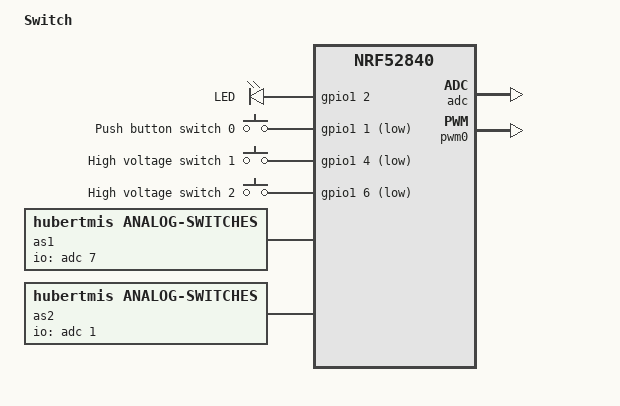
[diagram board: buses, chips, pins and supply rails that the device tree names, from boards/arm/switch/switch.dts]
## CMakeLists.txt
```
# Find Zephyr. This also loads Zephyr's build system.
cmake_minimum_required(VERSION 3.13.1)

set(CONF_FILE "prj.conf")
list(APPEND CONF_FILE "../config/openthread.conf")
list(APPEND CONF_FILE "../config/coap.conf")
list(APPEND CONF_FILE "../config/fota.conf")
list(APPEND CONF_FILE "../config/dfu.conf")

set(BOARD_CONF_FILE "prj_${BOARD}.conf")
if (EXISTS ${BOARD_CONF_FILE})
	list(APPEND CONF_FILE ${BOARD_CONF_FILE})
endif()

list(APPEND BOARD_ROOT ${CMAKE_CURRENT_SOURCE_DIR})
find_package(Zephyr REQUIRED HINTS $ENV{ZEPHYR_BASE})
project(switch)

# Add your source file to the "app" target. This must come after
# find_package(Zephyr) which defines the target.
target_sources(app PRIVATE src/analog_switch.c)
target_sources(app PRIVATE src/coap.c)
target_sources(app PRIVATE src/coap_req.c)
target_sources(app PRIVATE src/led.c)
target_sources(app PRIVATE src/main.c)
target_sources(app PRIVATE src/prov.c)
target_sources(app PRIVATE src/switch.c)

# TODO: Replace with library target
target_include_directories(app PRIVATE ../lib)
target_sources(app PRIVATE ../lib/cbor_utils.c)
target_sources(app PRIVATE ../lib/coap_fota.c)
target_sources(app PRIVATE ../lib/coap_reboot.c)
target_sources(app PRIVATE ../lib/coap_sd.c)
target_sources(app PRIVATE ../lib/coap_server.c)
target_sources(app PRIVATE ../lib/continuous_sd.c)
target_sources(app PRIVATE ../lib/ot_sed.c)

zephyr_get(COAPS_PSK SYSBUILD GLOBAL)
if(COAPS_PSK)
    target_compile_definitions(app PRIVATE
        -DCOAPS_PSK=${COAPS_PSK}
        )
else()
    message(FATAL_ERROR "Missing COAPS_PSK")
endif()
```

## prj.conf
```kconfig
CONFIG_FPU=y
CONFIG_FPU_SHARING=y

CONFIG_MAIN_STACK_SIZE=3072
CONFIG_HEAP_MEM_POOL_SIZE=2048

CONFIG_FLASH=y

CONFIG_ADC=y
CONFIG_LED=y

CONFIG_MCUBOOT_IMGTOOL_SIGN_VERSION="0.1.0+9"

CONFIG_DOWNLOADER_THREAD_PRIORITY=6

CONFIG_RESET_ON_FATAL_ERROR=n
#CONFIG_DEBUG_THREAD_INFO=y
#CONFIG_THREAD_MONITOR=y
```

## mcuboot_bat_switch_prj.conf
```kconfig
#CONFIG_BOOT_SIGNATURE_TYPE_RSA=y
#CONFIG_BOOT_SIGNATURE_TYPE_RSA_LEN=2048
CONFIG_BOOT_SIGNATURE_KEY_FILE="keys/bat_switch.pem"

#CONFIG_MAIN_STACK_SIZE=2048

CONFIG_RESET_ON_FATAL_ERROR=n
CONFIG_GPIO_AS_PINRESET=n
```

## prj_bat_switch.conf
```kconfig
CONFIG_OPENTHREAD_MTD=y
CONFIG_OPENTHREAD_MTD_SED=y
```

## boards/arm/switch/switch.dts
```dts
/*
 * Copyright (c) 2022 Hubert Miś
 *
 * SPDX-License-Identifier: Apache-2.0
 */

/dts-v1/;
#include <nordic/nrf52840_qiaa.dtsi>

/ {
	model = "Switch";
	compatible = "hubertmis,switch";

	chosen {
		zephyr,sram = &sram0;
		zephyr,flash = &flash0;
		zephyr,code-partition = &slot0_partition;
	};

    leds {
        compatible = "gpio-leds";
        led: led_0 {
            gpios = <&gpio1 2 GPIO_ACTIVE_HIGH>;
            label = "LED";
        };
    };

    buttons {
        compatible = "gpio-keys";
        button0: button_0 {
            gpios = <&gpio1 1 (GPIO_PULL_UP | GPIO_ACTIVE_LOW)>;
            label = "Push button switch 0";
        };
        sw1: button_1 {
            gpios = <&gpio1 4 (GPIO_ACTIVE_LOW)>;
            label = "High voltage switch 1";
        };
        sw2: button_2 {
            gpios = <&gpio1 6 (GPIO_ACTIVE_LOW)>;
            label = "High voltage switch 2";
        };
    };

    as1: analog_switch1 {
        compatible = "hubertmis,analog-switches";
        io-channels = <&adc 7>;
        status = "okay";
    };
    as2: analog_switch2 {
        compatible = "hubertmis,analog-switches";
        io-channels = <&adc 1>;
        status = "okay";
    };

    /*
    * In some default configurations within the nRF Connect SDK,
    * e.g. on nRF52840, the chosen zephyr,entropy node is &cryptocell.
    * This devicetree overlay ensures that default is overridden wherever it
    * is set, as this application uses the RNG node for entropy exclusively.
    */
    chosen {
        zephyr,entropy = &rng;
    };

    /* These aliases are provided for compatibility with samples */
/*
    aliases {
        red-pwm-led = &red_pwm_led;
        green-pwm-led = &green_pwm_led;
        blue-pwm-led = &blue_pwm_led;
        white-pwm-led = &white_pwm_led;
    };
*/
};

&adc {
	status = "okay";
};

&gpiote {
	status = "okay";
};

&gpio0 {
	status = "okay";
};

&gpio1 {
	status = "okay";
};

&pwm0 {
    status = "okay";
    ch0-pin = <18>;
    ch0-inverted;
    ch1-pin = <19>;
    ch1-inverted;
    ch2-pin = <21>;
    ch2-inverted;
    ch3-pin = <23>;
    ch3-inverted;
};

&flash0 {

	partitions {
		compatible = "fixed-partitions";
		#address-cells = <1>;
		#size-cells = <1>;

		boot_partition: partition@0 {
			label = "mcuboot";
			reg = <0x000000000 0x0000C000>;
		};
		slot0_partition: partition@c000 {
			label = "image-0";
			reg = <0x0000C000 0x00067000>;
		};
		slot1_partition: partition@73000 {
			label = "image-1";
			reg = <0x00073000 0x00067000>;
		};
		scratch_partition: partition@da000 {
			label = "image-scratch";
			reg = <0x000da000 0x0001e000>;
		};

		/*
		 * The flash starting at 0x000f8000 and ending at
		 * 0x000fffff is reserved for use by the application.
		 */

		/*
		 * Storage partition will be used by FCB/LittleFS/NVS
		 * if enabled.
		 */
		storage_partition: partition@f8000 {
			label = "storage";
			reg = <0x000f8000 0x00008000>;
		};
	};
};
```

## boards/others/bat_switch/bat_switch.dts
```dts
/*
 * Copyright (c) 2022 Hubert Miś
 *
 * SPDX-License-Identifier: Apache-2.0
 */

/dts-v1/;
#include <nordic/nrf52840_qiaa.dtsi>

/ {
	model = "Switch";
	compatible = "hubertmis,switch";

	chosen {
		zephyr,sram = &sram0;
		zephyr,flash = &flash0;
		zephyr,code-partition = &slot0_partition;
	};

    buttons {
        compatible = "gpio-keys";
        sw1: button_1 {
            gpios = <&gpio0 23 (GPIO_PULL_UP | GPIO_ACTIVE_LOW)>;
            label = "Switch 1";
        };
    };

    /*
    * In some default configurations within the nRF Connect SDK,
    * e.g. on nRF52840, the chosen zephyr,entropy node is &cryptocell.
    * This devicetree overlay ensures that default is overridden wherever it
    * is set, as this application uses the RNG node for entropy exclusively.
    */
    chosen {
        zephyr,entropy = &rng;
    };

    /* These aliases are provided for compatibility with samples */
};

&adc {
	status = "okay";
};

&gpiote {
	status = "okay";
};

&gpio0 {
	status = "okay";
};

&gpio1 {
	status = "okay";
};

&pwm0 {
    status = "okay";
    ch0-pin = <18>;
    ch0-inverted;
    ch1-pin = <19>;
    ch1-inverted;
    ch2-pin = <21>;
    ch2-inverted;
    ch3-pin = <23>;
    ch3-inverted;
};

&flash0 {

	partitions {
		compatible = "fixed-partitions";
		#address-cells = <1>;
		#size-cells = <1>;

		boot_partition: partition@0 {
			label = "mcuboot";
			reg = <0x000000000 0x0000C000>;
		};
		slot0_partition: partition@c000 {
			label = "image-0";
			reg = <0x0000C000 0x00067000>;
		};
		slot1_partition: partition@73000 {
			label = "image-1";
			reg = <0x00073000 0x00067000>;
		};
		scratch_partition: partition@da000 {
			label = "image-scratch";
			reg = <0x000da000 0x0001e000>;
		};

		/*
		 * The flash starting at 0x000f8000 and ending at
		 * 0x000fffff is reserved for use by the application.
		 */

		/*
		 * Storage partition will be used by FCB/LittleFS/NVS
		 * if enabled.
		 */
		storage_partition: partition@f8000 {
			label = "storage";
			reg = <0x000f8000 0x00008000>;
		};
	};
};
```

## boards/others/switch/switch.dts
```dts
/*
 * Copyright (c) 2022 Hubert Miś
 *
 * SPDX-License-Identifier: Apache-2.0
 */

/dts-v1/;
#include <nordic/nrf52840_qiaa.dtsi>

/ {
	model = "Switch";
	compatible = "hubertmis,switch";

	chosen {
		zephyr,sram = &sram0;
		zephyr,flash = &flash0;
		zephyr,code-partition = &slot0_partition;
		zephyr,ieee802154 = &ieee802154;
	};

    leds {
        compatible = "gpio-leds";
        led: led_0 {
            gpios = <&gpio1 2 GPIO_ACTIVE_HIGH>;
            label = "LED";
        };
    };

    buttons {
        compatible = "gpio-keys";
        button0: button_0 {
            gpios = <&gpio1 1 (GPIO_PULL_UP | GPIO_ACTIVE_LOW)>;
            label = "Push button switch 0";
        };
        sw1: button_1 {
            gpios = <&gpio1 4 (GPIO_ACTIVE_LOW)>;
            label = "High voltage switch 1";
        };
        sw2: button_2 {
            gpios = <&gpio1 6 (GPIO_ACTIVE_LOW)>;
            label = "High voltage switch 2";
        };
    };

    as1: analog_switch1 {
        compatible = "hubertmis,analog-switches";
        io-channels = <&adc 7>;
        status = "okay";
    };
    as2: analog_switch2 {
        compatible = "hubertmis,analog-switches";
        io-channels = <&adc 1>;
        status = "okay";
    };

    /*
    * In some default configurations within the nRF Connect SDK,
    * e.g. on nRF52840, the chosen zephyr,entropy node is &cryptocell.
    * This devicetree overlay ensures that default is overridden wherever it
    * is set, as this application uses the RNG node for entropy exclusively.
    */
    chosen {
        zephyr,entropy = &rng;
    };

    /* These aliases are provided for compatibility with samples */
/*
    aliases {
        red-pwm-led = &red_pwm_led;
        green-pwm-led = &green_pwm_led;
        blue-pwm-led = &blue_pwm_led;
        white-pwm-led = &white_pwm_led;
    };
*/
};

&adc {
	status = "okay";
};

&gpiote {
	status = "okay";
};

&gpio0 {
	status = "okay";
};

&gpio1 {
	status = "okay";
};

&ieee802154 {
	status = "okay";
};

&uicr {
	nfct-pins-as-gpios;
};

&flash0 {

	partitions {
		compatible = "fixed-partitions";
		#address-cells = <1>;
		#size-cells = <1>;

		boot_partition: partition@0 {
			label = "mcuboot";
			reg = <0x000000000 0x0000C000>;
		};
		slot0_partition: partition@c000 {
			label = "image-0";
			reg = <0x0000C000 0x00079000>;
		};
		slot1_partition: partition@85000 {
			label = "image-1";
			reg = <0x00085000 0x00079000>;
		};

		storage_partition: partition@fe000 {
			label = "storage";
			reg = <0x000fe000 0x00002000>;
		};
	};
};
```

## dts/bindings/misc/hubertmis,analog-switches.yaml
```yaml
# Copyright (c) 2022 Hubert Miś
# SPDX-License-Identifier: Apache-2.0

description: Analog detector of power switch state changes

compatible: "hubertmis,analog-switches"

include: base.yaml

properties:
  io-channels:
    required: true
    description: |
      IO channel associated with the transoptor output
```

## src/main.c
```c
/*
 * Copyright (c) 2022 Hubert Miś
 *
 * SPDX-License-Identifier: Apache-2.0
 */

#include <assert.h>

#include "coap.h"
#include "led.h"
#include "prov.h"
#include "switch.h"

#include "ot_sed.h"

#include <net/fota_download.h>
#include <openthread/thread.h>
#include <zephyr/dfu/mcuboot.h>
#include <zephyr/net/openthread.h>
#include <zephyr/settings/settings.h>
#include <zephyr/sys/reboot.h>

#define TX_POWER 8

// Fota
void fota_callback(const struct fota_download_evt *evt)
{
    if (evt->id == FOTA_DOWNLOAD_EVT_FINISHED) {
        sys_reboot(SYS_REBOOT_COLD);
    }
}

// Main
int main(void)
{
	prov_init();

	settings_subsys_init();
	settings_register(prov_get_settings_handler());
	settings_load();

	otError error;
	struct otInstance *ot_instance = openthread_get_default_instance();

	error = otPlatRadioSetTransmitPower(ot_instance, TX_POWER);
	assert(error == OT_ERROR_NONE);

	struct otIp6Address site_local_all_nodes_addr = {.mFields = {.m8 =
			{0xff, 0x05, 0x00, 0x00, 0x00, 0x00, 0x00, 0x00,
			 0x00, 0x00, 0x00, 0x00, 0x00, 0x00, 0x00, 0x01} }};

	error = otIp6SubscribeMulticastAddress(ot_instance, &site_local_all_nodes_addr);
	assert(error == OT_ERROR_NONE);

	ot_sed_init(ot_instance);
	fota_download_init(fota_callback);
	coap_init();

	switch_init();
	led_init();

	boot_write_img_confirmed();

	return 0;
}
```

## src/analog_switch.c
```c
/*
 * Copyright (c) 2022 Hubert Miś
 *
 * SPDX-License-Identifier: Apache-2.0
 */

#define DT_DRV_COMPAT hubertmis_analog_switches

#include "analog_switch.h"

#include <nrfx_saadc.h>

#include <zephyr/drivers/adc.h>
#include <zephyr/device.h>
#include <zephyr/logging/log.h>

#include "led.h"

LOG_MODULE_REGISTER(analog_switches, CONFIG_SENSOR_LOG_LEVEL);

#define ADC_RESOLUTION 12
#define ADC_INTERVAL_MS 1
#define ADC_ERR_RETRIES 100

#define REF_SAMPLES 1024
#define VAL_FACTOR  4
#define VAL_SAMPLES (REF_SAMPLES / VAL_FACTOR)
#define MAX_SAMPLE_VAL 1024

#define THREAD_PRIORITY 7
#define THREAD_STACK_SIZE 1024

enum last_change {
	NONE,
	INC,
	DEC,
};

struct analog_switch_data {
    uint16_t raw;
    uint16_t events;
    struct {
        uint32_t avg;
        uint32_t ref;
    } debug;
	struct {
	    uint16_t samples[REF_SAMPLES];
		uint16_t ref_idx;
		uint32_t val;
		uint32_t ref;
		int num_exceeded;
	} sld_w;

    uint16_t         min_events;
    uint16_t         det_threshold;
    uint8_t          debounce_cnt;
    enum last_change last_change;

    analog_switch_callback_t callback;
    void *                   callback_ctx;

    K_KERNEL_STACK_MEMBER(thread_stack, THREAD_STACK_SIZE);
    struct k_thread thread_data;
    k_tid_t thread_id;

    bool thread_enabled;
};

struct analog_switch_cfg {
    struct adc_sequence adc_table;
    const struct device *adc;
    uint8_t input_id;
};

static struct adc_sequence_options options = {
	.extra_samplings = 0,
	.interval_us = 15,
};

#ifdef CONFIG_ADC_NRFX_SAADC
#define INPUT_CONFIG                                                           \
            .input_positive = drv_cfg->input_id + NRFX_ANALOG_EXTERNAL_AIN0,
#else
#define INPUT_CONFIG
#endif

static void thread_process(void *, void *, void *);

static int as_init(const struct device *dev)
{
	struct analog_switch_data *drv_data = dev->data;
	const struct analog_switch_cfg *drv_cfg = dev->config;

	if (drv_cfg->adc == NULL) {
		LOG_ERR("Failed to get ADC device.");
		return -EINVAL;
	}

	memset(&drv_data->sld_w.samples, 0, sizeof(drv_data->sld_w.samples));
	drv_data->sld_w.ref_idx = 0;
	drv_data->sld_w.val     = 0;
	drv_data->sld_w.ref     = 0;

	drv_data->min_events    = 50;
	drv_data->det_threshold = 12000;
	drv_data->debounce_cnt  = 3;
	drv_data->last_change   = NONE;

	drv_data->callback     = NULL;
	drv_data->callback_ctx = NULL;

	struct adc_channel_cfg ch_cfg = {
	    .gain = ADC_GAIN_1_4,
	    .reference = ADC_REF_VDD_1_4,
	    .acquisition_time = ADC_ACQ_TIME_DEFAULT,
	    .channel_id = drv_cfg->input_id,
	    INPUT_CONFIG
	};

	adc_channel_setup(drv_cfg->adc, &ch_cfg);

	drv_data->thread_id = k_thread_create(&drv_data->thread_data,
		                              drv_data->thread_stack,
					      K_THREAD_STACK_SIZEOF(drv_data->thread_stack),
					      thread_process,
					      (void*)dev, NULL, NULL,
					      THREAD_PRIORITY,
					      0,
					      K_FOREVER);

	drv_data->thread_enabled = false;

	return 0;
}

static void call_detected_callback(struct analog_switch_data *drv_data)
{
    drv_data->events++;

	if (drv_data->callback) {
		drv_data->callback(drv_data->last_change == DEC, drv_data->callback_ctx);
	}
}

static uint16_t prev_idx(uint16_t curr, uint16_t dist)
{
    return (REF_SAMPLES + curr - (dist - 1)) % REF_SAMPLES;
}

static uint16_t next_idx(uint16_t curr)
{
    return (curr + 1) % REF_SAMPLES;
}

static void sld_w_process(struct analog_switch_data *drv_data)
{
    uint16_t curr_idx = drv_data->sld_w.ref_idx;
    uint16_t prev_ref_idx = prev_idx(curr_idx, REF_SAMPLES);
    uint16_t prev_val_idx = prev_idx(curr_idx, VAL_SAMPLES);

    uint16_t curr_sample = drv_data->raw;

    if (curr_sample > MAX_SAMPLE_VAL) {
        return;
    }

    drv_data->sld_w.samples[curr_idx] = curr_sample;
    drv_data->sld_w.ref -= drv_data->sld_w.samples[prev_ref_idx];
    drv_data->sld_w.ref += drv_data->sld_w.samples[curr_idx];
    drv_data->sld_w.val -= drv_data->sld_w.samples[prev_val_idx];
    drv_data->sld_w.val += drv_data->sld_w.samples[curr_idx];

    drv_data->sld_w.ref_idx = next_idx(drv_data->sld_w.ref_idx);

    drv_data->debug.avg = drv_data->sld_w.val * VAL_FACTOR;
    drv_data->debug.ref = drv_data->sld_w.ref;

    // TODO: debouncing here?

    int32_t lower_thr = (int32_t)drv_data->sld_w.ref - (int32_t)drv_data->det_threshold;
    int32_t upper_thr = (int32_t)drv_data->sld_w.ref + (int32_t)drv_data->det_threshold;

    if (lower_thr < 0) {
        lower_thr = 0;
    }
    if (upper_thr > (MAX_SAMPLE_VAL * REF_SAMPLES)) {
        upper_thr = MAX_SAMPLE_VAL * REF_SAMPLES;
    }

    int32_t cmp_val = drv_data->sld_w.val * VAL_FACTOR;

    if ((cmp_val < lower_thr) && (drv_data->last_change != DEC)) {
        drv_data->sld_w.num_exceeded++;
    }
    else if ((cmp_val > upper_thr) && (drv_data->last_change != INC)) {
        drv_data->sld_w.num_exceeded++;
    } else if (drv_data->sld_w.num_exceeded) {
        drv_data->sld_w.num_exceeded--;
    }

    if (drv_data->sld_w.num_exceeded >= drv_data->min_events) {
        drv_data->sld_w.num_exceeded = 0;
        drv_data->last_change = drv_data->last_change == DEC ? INC : DEC;
        call_detected_callback(drv_data);
    }
}

static void thread_process(void *arg1, void *, void *)
{
	const struct device *dev = arg1;
	struct analog_switch_data *drv_data = dev->data;
	const struct analog_switch_cfg *drv_cfg = dev->config;
	int r;
	int adc_err_cnt = 0;

	while (1) {
		r = adc_read(drv_cfg->adc, &drv_cfg->adc_table);
		if (r) {
		    if (adc_err_cnt < ADC_ERR_RETRIES) {
				adc_err_cnt++;
			}
			else {
				k_sleep(K_MSEC(ADC_INTERVAL_MS));
			}
		    continue;
		} else {
		    adc_err_cnt = 0;
		}

        sld_w_process(drv_data);

		k_sleep(K_MSEC(ADC_INTERVAL_MS));
	}
}

static int get(const struct device *dev, uint16_t *result)
{
	int ret = 0;
	struct analog_switch_data *drv_data = dev->data;
	const struct analog_switch_cfg *drv_cfg = dev->config;

	ret = adc_read(drv_cfg->adc, &drv_cfg->adc_table);
	if (ret) return ret;

	*result = drv_data->raw;
	return 0;
}

static int register_callback(const struct device *dev,
                             analog_switch_callback_t callback,
			     void *ctx)
{
	struct analog_switch_data *drv_data = dev->data;

	drv_data->callback = callback;
	drv_data->callback_ctx = ctx;

	return 0;
}

static int enable(const struct device *dev)
{
	struct analog_switch_data *drv_data = dev->data;
	drv_data->thread_enabled = true;
	k_thread_start(drv_data->thread_id);

	return 0;
}

static int get_enabled(const struct device *dev, bool *enabled)
{
    struct analog_switch_data *drv_data = dev->data;

    *enabled = drv_data->thread_enabled;

    return 0;
}

static int get_avg(const struct device *dev, uint16_t *result, uint16_t *ref)
{
	struct analog_switch_data *drv_data = dev->data;

	*result = drv_data->debug.avg;
	*ref = drv_data->debug.ref;

	return 0;
}

static int get_events(const struct device *dev, uint16_t *result)
{
	struct analog_switch_data *drv_data = dev->data;

	*result = drv_data->events;
	drv_data->events = 0;
	return 0;
}

static int set_config(const struct device *dev, int iters, int sum_iters, int min_events,
            int threshold, int debounce_cnt, bool debounce_led, bool iter_led)
{
	struct analog_switch_data *drv_data = dev->data;

	(void)iters;
	(void)sum_iters;
	drv_data->min_events = min_events;
	drv_data->det_threshold = threshold;
	drv_data->debounce_cnt = debounce_cnt;

	if (debounce_led || iter_led) {
		led_take_analog_control();
	} else {
		led_release_analog_control();
	}

	return 0;
}

static int get_config(const struct device *dev, int *iters, int *sum_iters, int *min_events,
            int *threshold, int *debounce_cnt)
{
	struct analog_switch_data *drv_data = dev->data;

	*iters = 0;
	*sum_iters = 0;
	*min_events = drv_data->min_events;
	*threshold = drv_data->det_threshold;
	*debounce_cnt = drv_data->debounce_cnt;

	return 0;
}

static const struct analog_switch_driver_api as_api = {
	.get = &get,
	.register_callback = register_callback,
	.enable = &enable,
	.get_enabled = &get_enabled,
	.get_avg = &get_avg,
	.get_events = get_events,
	.set_config = set_config,
	.get_config = get_config,
};

#define ANALOG_SWITCH_INIT(idx)                                                \
    static struct analog_switch_data as_##idx##_data;                          \
    static const struct analog_switch_cfg as_##idx##_cfg = {                   \
        .adc = DEVICE_DT_GET(DT_INST_PHANDLE(idx, io_channels)),               \
        .input_id = DT_INST_IO_CHANNELS_INPUT_BY_IDX(idx, 0),                  \
        .adc_table = {                                                         \
            .options = &options,                                               \
            .resolution = ADC_RESOLUTION,                                      \
            .buffer = &as_##idx##_data.raw,                                    \
            .buffer_size = sizeof(as_##idx##_data.raw),                        \
            .channels = BIT(DT_INST_IO_CHANNELS_INPUT_BY_IDX(idx, 0)),         \
        },                                                                     \
    };                                                                         \
                                                                               \
    DEVICE_DT_INST_DEFINE(idx, &as_init, NULL,                                 \
		          &as_##idx##_data, &as_##idx##_cfg,                   \
                          POST_KERNEL, CONFIG_SENSOR_INIT_PRIORITY, &as_api);  \

DT_INST_FOREACH_STATUS_OKAY(ANALOG_SWITCH_INIT)
```

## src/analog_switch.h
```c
/*
 * Copyright (c) 2022 Hubert Miś
 *
 * SPDX-License-Identifier: Apache-2.0
 */

/**
 * @file
 * @brief Analog switch detector device driver
 */

#ifndef ANALOG_SWITCH_H_
#define ANALOG_SWITCHC_H_

#include <stdint.h>
#include <zephyr/device.h>

#ifdef __cplusplus
extern "C" {
#endif

typedef void (*analog_switch_callback_t)(bool on, void *ctx);

typedef int (*analog_switch_api_get)(const struct device *dev,
                                     uint16_t *result);

typedef int (*analog_switch_api_register_callback)(const struct device *dev,
                                                   analog_switch_callback_t callback,
						   void *ctx);

typedef int (*analog_switch_api_enable)(const struct device *dev);

typedef int (*analog_switch_api_get_enabled)(const struct device *dev, bool *enabled);

typedef int (*analog_switch_api_get_avg)(const struct device *dev,
                                         uint16_t *result,
                                         uint16_t *ref);

typedef int (*analog_switch_api_get_events)(const struct device *dev,
                                            uint16_t *result);

typedef int (*analog_switch_api_set_config)(const struct device *dev,
					    int det_iters,
						int sum_iters,
						int min_events,
					    int det_threshold,
					    int debounce_cnt,
					    bool debounce_led,
					    bool iter_led);

typedef int (*analog_switch_api_get_config)(const struct device *dev,
                                            int *det_iters,
                                            int *sum_iters,
                                            int *min_events,
                                            int *det_threshold,
                                            int *debounce_cnt);

struct analog_switch_driver_api {
	analog_switch_api_get               get;
	analog_switch_api_register_callback register_callback;
	analog_switch_api_enable            enable;
	analog_switch_api_get_enabled       get_enabled;
	analog_switch_api_get_avg           get_avg;
	analog_switch_api_get_events        get_events;
	analog_switch_api_set_config        set_config;
	analog_switch_api_get_config        get_config;
};

#ifdef __cplusplus
}
#endif

#endif // ANALOG_SWITCH_H_
```

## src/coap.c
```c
/*
 * Copyright (c) 2022 Hubert Miś
 *
 * SPDX-License-Identifier: Apache-2.0
 */

#include "coap.h"

#include <cbor_utils.h>
#include <coap_fota.h>
#include <coap_reboot.h>
#include <coap_sd.h>
#include <coap_server.h>
#include "led.h"
#include "prov.h"

#include <zcbor_decode.h>
#include <zcbor_encode.h>
#include <zephyr/net/socket.h>
#include <zephyr/net/coap.h>

#define MAX_COAP_MSG_LEN 256
#define MAX_COAP_PAYLOAD_LEN 64

#define RSRC0_KEY "r0"
#define RSRC1_KEY "r1"
#define OUT0_KEY "o0"
#define OUT1_KEY "o1"
#define ANALOG0_KEY "a0"
#define ANALOG1_KEY "a1"
#define THRESHOLD0_KEY "t0"
#define THRESHOLD1_KEY "t1"
#define MONOSTABLE_KEY "m"

static int handle_prov_post(zcbor_state_t *cd, enum coap_response_code *rsp_code, void *context)
{
    (void)context;
    int r = -EINVAL;
    bool updated = false;
    char str[PROV_LBL_MAX_LEN];
    int prov_int;
    bool prov_bool;

    // Handle rsrc0
    r = cbor_extract_from_map_string(cd, RSRC0_KEY, str, sizeof(str));
    if ((r >= 0) && (r < PROV_LBL_MAX_LEN)) {
        r = prov_set_rsrc_label(0, str);

        if (r == 0) {
            updated = true;
        }
    }

    // Handle rsrc1
    r = cbor_extract_from_map_string(cd, RSRC1_KEY, str, sizeof(str));
    if ((r >= 0) && (r < PROV_LBL_MAX_LEN)) {
        r = prov_set_rsrc_label(1, str);

        if (r == 0) {
            updated = true;
        }
    }

    // Handle output0
    r = cbor_extract_from_map_string(cd, OUT0_KEY, str, sizeof(str));
    if ((r >= 0) && (r < PROV_LBL_MAX_LEN)) {
        r = prov_set_output_rsrc_label(0, str);

        if (r == 0) {
            updated = true;
        }
    }

    // Handle output1
    r = cbor_extract_from_map_string(cd, OUT1_KEY, str, sizeof(str));
    if ((r >= 0) && (r < PROV_LBL_MAX_LEN)) {
        r = prov_set_output_rsrc_label(1, str);

        if (r == 0) {
            updated = true;
        }
    }

    // Handle analog0
    r = cbor_extract_from_map_bool(cd, ANALOG0_KEY, &prov_bool);
    if (r == 0) {
        r = prov_set_analog_enabled(0, prov_bool);

        if (r == 0) {
            updated = true;
        }
    }

    // Handle analog1
    r = cbor_extract_from_map_bool(cd, ANALOG1_KEY, &prov_bool);
    if (r == 0) {
        r = prov_set_analog_enabled(1, prov_bool);

        if (r == 0) {
            updated = true;
        }
    }

    // Handle threshold0
    r = cbor_extract_from_map_int(cd, THRESHOLD0_KEY, &prov_int);
    if (r == 0 && prov_int <= UINT16_MAX) {
        r = prov_set_analog_threshold(0, prov_int);

        if (r == 0) {
            updated = true;
        }
    }

    // Handle threshold1
    r = cbor_extract_from_map_int(cd, THRESHOLD1_KEY, &prov_int);
    if (r == 0 && prov_int <= UINT16_MAX) {
        r = prov_set_analog_threshold(1, prov_int);

        if (r == 0) {
            updated = true;
        }
    }

    // Handle monostable
    r = cbor_extract_from_map_bool(cd, MONOSTABLE_KEY, &prov_bool);
    if (r == 0) {
        r = prov_set_monostable(prov_bool);

        if (r == 0) {
            updated = true;
        }
    }

    if (updated) {
        *rsp_code = COAP_RESPONSE_CODE_CHANGED;
        prov_store();
    } else {
        *rsp_code = COAP_RESPONSE_CODE_BAD_REQUEST;
    }

    return r;
}

static int prov_post(struct coap_resource *resource,
        struct coap_packet *request,
        struct sockaddr *addr, socklen_t addr_len)
{
    int sock = *(int*)resource->user_data;

    return coap_server_handle_simple_setter(sock, resource, request ,addr, addr_len,
		    handle_prov_post, NULL);
}

static int prepare_prov_payload(uint8_t *payload, size_t len)
{
    ZCBOR_STATE_E(ce, 2, payload, len, 1);
    const char *label;
    int prov_int;
    bool prov_bool;

    if (!zcbor_map_start_encode(ce, 9)) return -EINVAL;

    label = prov_get_rsrc_label(0);
    if (!zcbor_tstr_put_lit(ce, RSRC0_KEY)) return -EINVAL;
    if (!zcbor_tstr_put_term(ce, label, 8)) return -EINVAL;

    label = prov_get_rsrc_label(1);
    if (!zcbor_tstr_put_lit(ce, RSRC1_KEY)) return -EINVAL;
    if (!zcbor_tstr_put_term(ce, label, 8)) return -EINVAL;

    label = prov_get_output_rsrc_label(0);
    if (!zcbor_tstr_put_lit(ce, OUT0_KEY)) return -EINVAL;
    if (!zcbor_tstr_put_term(ce, label, 8)) return -EINVAL;

    label = prov_get_output_rsrc_label(1);
    if (!zcbor_tstr_put_lit(ce, OUT1_KEY)) return -EINVAL;
    if (!zcbor_tstr_put_term(ce, label, 8)) return -EINVAL;

    prov_bool = prov_get_analog_enabled(0);
    if (!zcbor_tstr_put_lit(ce, ANALOG0_KEY)) return -EINVAL;
    if (!zcbor_bool_put(ce, prov_bool)) return -EINVAL;

    prov_bool = prov_get_analog_enabled(1);
    if (!zcbor_tstr_put_lit(ce, ANALOG1_KEY)) return -EINVAL;
    if (!zcbor_bool_put(ce, prov_bool)) return -EINVAL;

    prov_int = prov_get_analog_threshold(0);
    if (!zcbor_tstr_put_lit(ce, THRESHOLD0_KEY)) return -EINVAL;
    if (!zcbor_int32_put(ce, prov_int)) return -EINVAL;

    prov_int = prov_get_analog_threshold(1);
    if (!zcbor_tstr_put_lit(ce, THRESHOLD1_KEY)) return -EINVAL;
    if (!zcbor_int32_put(ce, prov_int)) return -EINVAL;

    prov_bool = prov_get_monostable();
    if (!zcbor_tstr_put_lit(ce, MONOSTABLE_KEY)) return -EINVAL;
    if (!zcbor_bool_put(ce, prov_bool)) return -EINVAL;

    if (!zcbor_map_end_encode(ce, 9)) return -EINVAL;

    return (size_t)(ce->payload - payload);
}

static int prov_get(struct coap_resource *resource,
        struct coap_packet *request,
        struct sockaddr *addr, socklen_t addr_len)
{
    int sock = *(int*)resource->user_data;
    int r = 0;
    uint8_t payload[MAX_COAP_PAYLOAD_LEN];
    size_t payload_len = 0;

    r = prepare_prov_payload(payload, MAX_COAP_PAYLOAD_LEN);
    if (r < 0) {
        return r;
    }
    payload_len = r;

    return coap_server_handle_simple_getter(sock, resource, request,
                    addr, addr_len, payload, payload_len);
}

#define PULSE_KEY "p"

static int handle_pulse_post(zcbor_state_t *value,
	       	enum coap_response_code *rsp_code, void *context)
{
    int ret;
    int num_pulses;
    (void)context;

    *rsp_code = COAP_RESPONSE_CODE_BAD_REQUEST;

    // Handle pulse
    ret = cbor_extract_from_map_int(value, PULSE_KEY, &num_pulses);
    if (ret == 0 && num_pulses <= ULONG_MAX) {
        led_set_pulses(num_pulses);
        *rsp_code = COAP_RESPONSE_CODE_CHANGED;
    }

    return ret;
}

static int pulse_post(struct coap_resource *resource,
        struct coap_packet *request,
        struct sockaddr *addr, socklen_t addr_len)
{
    int sock = *(int*)resource->user_data;

    return coap_server_handle_simple_setter(sock, resource, request, addr, addr_len,
		    handle_pulse_post, NULL);
}

#include "analog_switch.h"
#define DEV_KEY "d"
#define ADC_KEY "a"
#define REF_KEY "r"
#define RET_KEY "r"
#define EV_KEY "e"
#define ITER_KEY "i"
#define SUM_ITER_KEY "si"
#define MIN_EV_KEY "me"
#define THRES_KEY "t"
#define DEBOUNCE_KEY "deb"

static const struct device *map_id_to_dev(uint8_t id)
{
	switch (id) {
#if DT_NODE_EXISTS(DT_NODELABEL(as1))
		case 0:
			return DEVICE_DT_GET(DT_NODELABEL(as1));
#endif
#if DT_NODE_EXISTS(DT_NODELABEL(as2))
		case 1:
			return DEVICE_DT_GET(DT_NODELABEL(as2));
#endif
		default:
			return NULL;
	}
}

typedef int (*dev_callback)(const struct device *dev, zcbor_state_t *value,
        enum coap_response_code *rsp_code);

static int call_function_for_devs(zcbor_state_t *value,
        enum coap_response_code *rsp_code, dev_callback callback)
{
    const struct device *dev;
    int r = -EINVAL;
    int dev_id;

    // Handle device
    r = cbor_extract_from_map_int(value, "d", &dev_id);
    if (r == 0) {
        dev = map_id_to_dev(dev_id);
        if (dev != NULL) {
            r = callback(dev, value, rsp_code);
        } else {
            *rsp_code = COAP_RESPONSE_CODE_BAD_REQUEST;
            return -EINVAL;
        }
    } else {
        for (int i = 0; i < 2; ++i) {
            dev = map_id_to_dev(i);
            if (dev != NULL) {
                r = callback(dev, value, rsp_code);
                if (r) return r;
            } else {
                *rsp_code = COAP_RESPONSE_CODE_INTERNAL_ERROR;
                return -EINVAL;
            }
        }
    }

    return r;
}


static int prepare_adc_payload(uint8_t *payload, size_t len)
{
    ZCBOR_STATE_E(ce, 3, payload, len, 1);

    if (!zcbor_map_start_encode(ce, 2)) return -EINVAL;

    for (int i = 0; i < 2; i++) {
	    const struct device *dev = map_id_to_dev(i);
	    if (dev == NULL) return 0;

	    int r = 0;
	    uint16_t val = 0;
	    const struct analog_switch_driver_api *api = dev->api;
	    r = api->get(dev, &val);

        if (!zcbor_int32_put(ce, i)) return -EINVAL;
        if (!zcbor_map_start_encode(ce, 2)) return -EINVAL;

        if (!zcbor_tstr_put_lit(ce, RET_KEY)) return -EINVAL;
        if (!zcbor_int32_put(ce, r)) return -EINVAL;

        if (!zcbor_tstr_put_lit(ce, ADC_KEY)) return -EINVAL;
        if (!zcbor_int32_put(ce, val)) return -EINVAL;

        if (!zcbor_map_end_encode(ce, 2)) return -EINVAL;
    }

    if (!zcbor_map_end_encode(ce, 2)) return -EINVAL;

    return (size_t)(ce->payload - payload);
}

static int adc_get(struct coap_resource *resource,
        struct coap_packet *request,
        struct sockaddr *addr, socklen_t addr_len)
{
    int sock = *(int*)resource->user_data;
    int r = 0;
    uint8_t payload[MAX_COAP_PAYLOAD_LEN];
    size_t payload_len = 0;

    r = prepare_adc_payload(payload, MAX_COAP_PAYLOAD_LEN);
    if (r < 0) {
        return r;
    }
    payload_len = r;

    return coap_server_handle_simple_getter(sock, resource, request,
                    addr, addr_len, payload, payload_len);
}

static int prepare_adc_avg_payload(uint8_t *payload, size_t len)
{
    ZCBOR_STATE_E(ce, 3, payload, len, 1);

    if (!zcbor_map_start_encode(ce, 2)) return -EINVAL;

    for (int i = 0; i < 2; i++) {
	    const struct device *dev = map_id_to_dev(i);
	    if (dev == NULL) return 0;

	    uint16_t val = 0;
		uint16_t ref = 0;
	    uint16_t ev = 0;
	    const struct analog_switch_driver_api *api = dev->api;
	    api->get_avg(dev, &val, &ref);
	    api->get_events(dev, &ev);

        if (!zcbor_int32_put(ce, i)) return -EINVAL;
        if (!zcbor_map_start_encode(ce, 3)) return -EINVAL;

        if (!zcbor_tstr_put_lit(ce, ADC_KEY)) return -EINVAL;
        if (!zcbor_int32_put(ce, val)) return -EINVAL;

        if (!zcbor_tstr_put_lit(ce, REF_KEY)) return -EINVAL;
        if (!zcbor_int32_put(ce, ref)) return -EINVAL;

        if (!zcbor_tstr_put_lit(ce, EV_KEY)) return -EINVAL;
        if (!zcbor_int32_put(ce, ev)) return -EINVAL;

        if (!zcbor_map_end_encode(ce, 3)) return -EINVAL;
    }

    if (!zcbor_map_end_encode(ce, 2)) return -EINVAL;

    return (size_t)(ce->payload - payload);
}

static int adc_avg_get(struct coap_resource *resource,
        struct coap_packet *request,
        struct sockaddr *addr, socklen_t addr_len)
{
    int sock = *(int*)resource->user_data;
    int r = 0;
    uint8_t payload[MAX_COAP_PAYLOAD_LEN];
    size_t payload_len = 0;

    r = prepare_adc_avg_payload(payload, MAX_COAP_PAYLOAD_LEN);
    if (r < 0) {
        return r;
    }
    payload_len = r;

    return coap_server_handle_simple_getter(sock, resource, request,
                    addr, addr_len, payload, payload_len);
}

static int enable_for_dev(const struct device *dev, zcbor_state_t *map_val,
        enum coap_response_code *rsp_code)
{
    (void)map_val;

    const struct analog_switch_driver_api *api = dev->api;
    api->enable(dev);
    *rsp_code = COAP_RESPONSE_CODE_CHANGED;
    return 0;
}

static int handle_adc_enable_post(zcbor_state_t *value,
	       	enum coap_response_code *rsp_code, void *context)
{
    return call_function_for_devs(value, rsp_code, enable_for_dev);
}

static int adc_enable_post(struct coap_resource *resource,
        struct coap_packet *request,
        struct sockaddr *addr, socklen_t addr_len)
{
    int sock = *(int*)resource->user_data;

    return coap_server_handle_simple_setter(sock, resource, request, addr, addr_len,
        handle_adc_enable_post, NULL);
}

static int prepare_adc_config_payload(uint8_t *payload, size_t len)
{
    ZCBOR_STATE_E(ce, 3, payload, len, 1);

    if (!zcbor_map_start_encode(ce, 2)) return -EINVAL;

    for (int i = 0; i < 2; i++) {
	    const struct device *dev = map_id_to_dev(i);
	    if (dev == NULL) return 0;

	    int iters = 0;
	    int sum_iters = 0;
	    int min_events = 0;
	    int threshold = 0;
	    int debounce = 0;
	    const struct analog_switch_driver_api *api = dev->api;
	    api->get_config(dev, &iters, &sum_iters, &min_events, &threshold, &debounce);

	    if (!zcbor_int32_put(ce, i)) return -EINVAL;
	    if (!zcbor_map_start_encode(ce, 5)) return -EINVAL;

	    if (!zcbor_tstr_put_lit(ce, ITER_KEY)) return -EINVAL;
	    if (!zcbor_int32_put(ce, iters)) return -EINVAL;

	    if (!zcbor_tstr_put_lit(ce, SUM_ITER_KEY)) return -EINVAL;
	    if (!zcbor_int32_put(ce, sum_iters)) return -EINVAL;

	    if (!zcbor_tstr_put_lit(ce, MIN_EV_KEY)) return -EINVAL;
	    if (!zcbor_int32_put(ce, min_events)) return -EINVAL;

	    if (!zcbor_tstr_put_lit(ce, THRES_KEY)) return -EINVAL;
	    if (!zcbor_int32_put(ce, threshold)) return -EINVAL;

	    if (!zcbor_tstr_put_lit(ce, DEBOUNCE_KEY)) return -EINVAL;
	    if (!zcbor_int32_put(ce, debounce)) return -EINVAL;

	    if (!zcbor_map_end_encode(ce, 5)) return -EINVAL;
    }

    if (!zcbor_map_end_encode(ce, 2)) return -EINVAL;

    return (size_t)(ce->payload - payload);
}

static int adc_config_get(struct coap_resource *resource,
        struct coap_packet *request,
        struct sockaddr *addr, socklen_t addr_len)
{
    int sock = *(int*)resource->user_data;
    int r = 0;
    uint8_t payload[MAX_COAP_PAYLOAD_LEN];
    size_t payload_len = 0;

    r = prepare_adc_config_payload(payload, MAX_COAP_PAYLOAD_LEN);
    if (r < 0) {
        return r;
    }
    payload_len = r;

    return coap_server_handle_simple_getter(sock, resource, request,
                    addr, addr_len, payload, payload_len);

}

static int set_config_for_dev(const struct device *dev, zcbor_state_t *value,
        enum coap_response_code *rsp_code)
{
    int r;
    bool updated = false;
    int req_det_iters;
    int req_sum_iters;
    int req_min_events;
    int req_det_thres;
    int req_deb_cnt;
    int req_iter_led;
    int req_deb_led;
    bool iter_led = false;
    bool debounce_led = false;

    const struct analog_switch_driver_api *api = dev->api;
    r = api->get_config(dev, &req_det_iters, &req_sum_iters, &req_min_events,
                        &req_det_thres, &req_deb_cnt);
    if (r != 0) {
        *rsp_code = COAP_RESPONSE_CODE_INTERNAL_ERROR;
        return r;
    }

    r = cbor_extract_from_map_int(value, ITER_KEY, &req_det_iters);
    if (r == 0) {
        if (req_det_iters < 0) {
            *rsp_code = COAP_RESPONSE_CODE_BAD_REQUEST;
            return -EINVAL;
        }

        updated = true;
    }

    r = cbor_extract_from_map_int(value, SUM_ITER_KEY, &req_sum_iters);
    if (r == 0) {
        if (req_sum_iters < 0) {
            *rsp_code = COAP_RESPONSE_CODE_BAD_REQUEST;
            return -EINVAL;
        }

        updated = true;
    }

    r = cbor_extract_from_map_int(value, MIN_EV_KEY, &req_min_events);
    if (r == 0) {
        if (req_min_events < 0) {
            *rsp_code = COAP_RESPONSE_CODE_BAD_REQUEST;
            return -EINVAL;
        }

        updated = true;
    }

    // Handle threshold
    r = cbor_extract_from_map_int(value, THRES_KEY, &req_det_thres);
    if (r == 0) {
        if (req_det_thres < 0) {
            *rsp_code = COAP_RESPONSE_CODE_BAD_REQUEST;
            return -EINVAL;
        }

        updated = true;
    }

    // Handle debouncing counter
    r = cbor_extract_from_map_int(value, DEBOUNCE_KEY, &req_deb_cnt);
    if (r == 0) {
        if (req_deb_cnt < 0 || req_deb_cnt > UINT8_MAX) {
            *rsp_code = COAP_RESPONSE_CODE_BAD_REQUEST;
            return -EINVAL;
        }

        updated = true;
    }

    // Handle debouncing led
    r = cbor_extract_from_map_int(value, "dl", &req_deb_led);
    if (r == 0 && req_deb_led > 0) {
        debounce_led = true;
        updated = true;
    }

    // Handle iter led
    r = cbor_extract_from_map_int(value, "il", &req_iter_led);
    if (r == 0 && req_iter_led > 0) {
        iter_led = true;
        updated = true;
    }

    if (updated) {
        api->set_config(dev, req_det_iters, req_sum_iters, req_min_events,
                        req_det_thres, req_deb_cnt, debounce_led, iter_led);
        *rsp_code = COAP_RESPONSE_CODE_CHANGED;

        return 0;
    } else {
        *rsp_code = COAP_RESPONSE_CODE_BAD_REQUEST;

        return -EINVAL;
    }
}

static int handle_adc_config_post(zcbor_state_t *value,
	       	enum coap_response_code *rsp_code, void *context)
{
    (void)context;

    return call_function_for_devs(value, rsp_code, set_config_for_dev);
}

static int adc_config_post(struct coap_resource *resource,
        struct coap_packet *request,
        struct sockaddr *addr, socklen_t addr_len)
{
    int sock = *(int*)resource->user_data;

    return coap_server_handle_simple_setter(sock, resource, request ,addr, addr_len,
		    handle_adc_config_post, NULL);
}

static struct coap_resource * rsrcs_get(int sock)
{
    static const char * const fota_path [] = {"fota_req", NULL};
    static const char * const sd_path [] = {"sd", NULL};
    static const char * const prov_path[] = {"prov", NULL};
    static const char * const pulse_path[] = {"pulse", NULL};
    static const char * const adc_path[] = {"adc", NULL};
    static const char * const adc_avg_path[] = {"adc", "avg", NULL};
    static const char * const adc_enable_path[] = {"adc", "enable", NULL};
    static const char * const adc_config_path[] = {"adc", "config", NULL};
    static const char * const reboot_path[] = {"reboot", NULL};

    static struct coap_resource resources[] = {
        { .get = coap_fota_get,
          .post = coap_fota_post,
          .path = fota_path,
        },
        { .get = coap_sd_server,
          .path = sd_path,
        },
	{ .get = prov_get,
	  .post = prov_post,
	  .path = prov_path,
	},
	{ .post = pulse_post,
	  .path = pulse_path,
	},
	{ .get = adc_get,
	  .path = adc_path,
	},
	{ .get = adc_avg_get,
	  .path = adc_avg_path,
	},
	{ .post = adc_enable_post,
	  .path = adc_enable_path,
	},
	{ .get = adc_config_get,
	  .post = adc_config_post,
	  .path = adc_config_path,
	},
	{ .post = coap_reboot_post,
	  .path = reboot_path,
	},
        { .path = NULL } // Array terminator
    };

    // TODO: Replace it with something better
    static int user_data;

    user_data = sock;

    for (int i = 0; i < ARRAY_SIZE(resources); ++i) {
        resources[i].user_data = &user_data;
    }

    return resources;
}

void coap_init(void)
{
    coap_server_init(rsrcs_get);
}
```

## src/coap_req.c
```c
/*
 * Copyright (c) 2022 Hubert Miś
 *
 * SPDX-License-Identifier: Apache-2.0
 */

#include "coap_req.h"

#include <unistd.h>

#include <sys/socket.h>
#include <zcbor_encode.h>
#include <zephyr/net/coap.h>

#define COAP_PORT 5683
#define MAX_COAP_MSG_LEN 256
#define MAX_COAP_PAYLOAD_LEN 64

#define COAP_OPTION_NO_RESPONSE 258
#define COAP_NO_RESPONSE_SUPPRESS_ALL 0x1a

#define PRESET_KEY "p"

static bool expect_rsp(void);

static int prepare_req_payload(uint8_t *payload, size_t len, int val)
{
    ZCBOR_STATE_E(ce, 2, payload, len, 1);

    if (!zcbor_map_start_encode(ce, 1)) return -EINVAL;

    if (!zcbor_tstr_put_lit(ce, PRESET_KEY)) return -EINVAL;
    if (!zcbor_int32_put(ce, val)) return -EINVAL;

    if (!zcbor_map_end_encode(ce, 1)) return -EINVAL;

    return (size_t)(ce->payload - payload);
}


static int send_req(int sock, struct sockaddr_in6 *addr, const char *rsrc, int out_val)
{
    int r;
    struct coap_packet cpkt;
    enum coap_msgtype msgtype;
    uint8_t *data;
    uint8_t payload[MAX_COAP_PAYLOAD_LEN];

    if (!rsrc || !strlen(rsrc)) {
        // TODO: Here is a race condition. Actually resource may be removed before
        // packet is created
        return -EINVAL;
    }

    data = (uint8_t *)k_malloc(MAX_COAP_MSG_LEN);
    if (!data) {
        return -ENOMEM;
    }

    if (expect_rsp()) {
        msgtype = COAP_TYPE_CON;
    } else {
        msgtype = COAP_TYPE_NON_CON;
    }

    r = coap_packet_init(&cpkt, data, MAX_COAP_MSG_LEN,
                 1, msgtype, 4, coap_next_token(),
                 COAP_METHOD_POST, coap_next_id());
    if (r < 0) {
        goto end;
    }

    r = coap_packet_append_option(&cpkt, COAP_OPTION_URI_PATH, rsrc, strlen(rsrc));
    if (r < 0) {
        goto end;
    }

    r = coap_append_option_int(&cpkt, COAP_OPTION_CONTENT_FORMAT,
            COAP_CONTENT_FORMAT_APP_CBOR);
    if (r < 0) {
        goto end;
    }

    if (!expect_rsp()) {
        r = coap_append_option_int(&cpkt, COAP_OPTION_NO_RESPONSE,
                COAP_NO_RESPONSE_SUPPRESS_ALL);
        if (r < 0) {
            goto end;
        }
    }

    r = coap_packet_append_payload_marker(&cpkt);
    if (r < 0) {
        goto end;
    }

    r = prepare_req_payload(payload, MAX_COAP_PAYLOAD_LEN, out_val);
    if (r < 0) {
        goto end;
    }

    r = coap_packet_append_payload(&cpkt, payload, r);
    if (r < 0) {
        goto end;
    }

    r = sendto(sock, cpkt.data, cpkt.offset, 0, (struct sockaddr *)addr, sizeof(*addr));
    if (r < 0) {
        r = -errno;
    }

end:
    k_free(data);

    return r;
}

static int rcv_rsp(int sock)
{
    int r;
    struct sockaddr addr;
    socklen_t addr_len;
    uint8_t response[MAX_COAP_MSG_LEN];

    r = recvfrom(sock, response, sizeof(response), 0, &addr, &addr_len);
    // TODO: Parse response and verify if it is ACK with correct token, msg_id

    if (r < 0) {
        return -errno;
    }

    return 0;
}

int coap_req_preset(struct in6_addr *addr, const char *rsrc, int preset_id)
{
    int r = 0;
    int sock;
    struct timeval timeout = {
        .tv_sec = 4,
    };
    struct sockaddr_in6 rmt_addr = {
        .sin6_family = AF_INET6,
        .sin6_port = htons(COAP_PORT),
    };

    sock = socket(AF_INET6, SOCK_DGRAM, IPPROTO_UDP);
    if (sock < 0) {
        return sock;
    }

    r = setsockopt(sock, SOL_SOCKET, SO_RCVTIMEO, &timeout, sizeof(timeout));
    if (r < 0) {
        r = -errno;
        goto end;
    }

    memcpy(&rmt_addr.sin6_addr, addr, sizeof(rmt_addr.sin6_addr));

    if (net_ipv6_is_addr_unspecified(&rmt_addr.sin6_addr)) {
        r = -EINVAL;
    }

    send_req(sock, &rmt_addr, rsrc, preset_id);

    if (expect_rsp()) {
        r = rcv_rsp(sock);
    } else {
        r = 0;
    }

end:
    close(sock);
    return r;
}

static bool expect_rsp(void)
{
#ifdef CONFIG_OPENTHREAD_MTD
    return false;
#else
    return true;
#endif
}
```

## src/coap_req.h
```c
/*
 * Copyright (c) 2022 Hubert Miś
 *
 * SPDX-License-Identifier: Apache-2.0
 */

/**
 * @file
 * @brief CoAP RGBW requestor
 */

#ifndef COAP_REQ_H_
#define COAP_REQ_H_

#include <zephyr/net/socket.h>

#ifdef __cplusplus
extern "C" {
#endif

int coap_req_preset(struct in6_addr *addr, const char *rsrc, int preset_id);

#ifdef __cplusplus
}
#endif

#endif // COAP_REQ_H_
```

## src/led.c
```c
/*
 * Copyright (c) 2022 Hubert Miś
 *
 * SPDX-License-Identifier: Apache-2.0
 */

#include "led.h"

#include <zephyr/device.h>
#include <zephyr/drivers/gpio.h>

#define HEARTBEAT_STACK_SIZE 512
#define LED_NODE_ID DT_NODELABEL(led)
#define GPIO_NODE_ID DT_GPIO_CTLR(LED_NODE_ID, gpios)
#define GPIO_PIN     DT_GPIO_PIN(LED_NODE_ID, gpios)
#define GPIO_FLAGS   DT_GPIO_FLAGS(LED_NODE_ID, gpios)

K_SEM_DEFINE(led_ctrl_sem, 0, 1);

static uint32_t pulses = 2;
static bool analog_control = false;

static void hb_proc(void *, void *, void *)
{
#if DT_NODE_HAS_STATUS(LED_NODE_ID, okay)
	const struct device *status_led_gpio = DEVICE_DT_GET(GPIO_NODE_ID);

	if (!status_led_gpio) return;
	if (gpio_pin_configure(status_led_gpio, GPIO_PIN, GPIO_OUTPUT_ACTIVE | GPIO_FLAGS) < 0) return;

	while (1)
	{
		for (unsigned long i = 0; i < pulses; i++) {
			gpio_pin_set(status_led_gpio, GPIO_PIN, 1);
			k_sleep(K_MSEC(100));
			gpio_pin_set(status_led_gpio, GPIO_PIN, 0);
			k_sleep(K_MSEC(100));
		}

		gpio_pin_set(status_led_gpio, GPIO_PIN, 0);
		k_sleep(K_MSEC(900));

		while (analog_control) {
			k_sem_take(&led_ctrl_sem, K_FOREVER);
		}
	}
#endif
}

K_THREAD_STACK_DEFINE(hb_thread_stack, HEARTBEAT_STACK_SIZE);
static struct k_thread hb_thread_data;

void led_init(void)
{
	k_thread_create(&hb_thread_data, hb_thread_stack, K_THREAD_STACK_SIZEOF(hb_thread_stack),
			hb_proc, NULL, NULL, NULL, 5, 0, K_NO_WAIT);
}

void led_set_pulses(uint32_t req_pulses)
{
	pulses = req_pulses;
}

void led_take_analog_control(void)
{
	analog_control = true;
}

void led_release_analog_control(void)
{
	analog_control = false;
	k_sem_give(&led_ctrl_sem);
}

void led_analog_toggle(void)
{
#if DT_NODE_HAS_STATUS(LED_NODE_ID, okay)
	static bool led_on;
	const struct device *status_led_gpio = DEVICE_DT_GET(GPIO_NODE_ID);
	if (!status_led_gpio) return;
	if (!analog_control) return;

	led_on = !led_on;
	gpio_pin_set(status_led_gpio, GPIO_PIN, led_on);
#endif
}
```

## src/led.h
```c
/*
 * Copyright (c) 2022 Hubert Miś
 *
 * SPDX-License-Identifier: Apache-2.0
 */

/**
 * @file
 * @brief LED manager settings
 */
    
#ifndef LED_H_
#define LED_H_

#include <stdint.h>

#ifdef __cplusplus
extern "C" {
#endif

void led_init(void);
void led_set_pulses(uint32_t pulses);

void led_take_analog_control(void);
void led_release_analog_control(void);
void led_analog_toggle(void);

#ifdef __cplusplus
}   
#endif

#endif // LED_H_
```

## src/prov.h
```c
/*
 * Copyright (c) 2022 Hubert Miś
 *
 * SPDX-License-Identifier: Apache-2.0
 */

/**
 * @file
 * @brief Provisioning settings
 */

#ifndef PROV_H_
#define PROV_H_

#include <stdbool.h>
#include <zephyr/settings/settings.h>

#ifdef __cplusplus
extern "C" {
#endif

#define PROV_LBL_MAX_LEN 6
#define PROV_RSRC_NUM 2

void prov_init(void);
int prov_set_rsrc_label(int rsrc_id, const char *rsrc_label);
const char *prov_get_rsrc_label(int rsrc_id);
int prov_set_output_rsrc_label(int rsrc_id, const char *label);
const char *prov_get_output_rsrc_label(int rsrc_id);
int prov_set_analog_enabled(int rsrc_id, bool enabled);
bool prov_get_analog_enabled(int rsrc_id);
int prov_set_analog_threshold(int rsrc_id, int threshold);
int prov_get_analog_threshold(int rsrc_id);
int prov_set_monostable(bool enabled);
bool prov_get_monostable(void);
void prov_store(void);
struct settings_handler *prov_get_settings_handler(void);

#ifdef __cplusplus
}
#endif

#endif // PROV_H_
```

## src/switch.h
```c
/*
 * Copyright (c) 2022 Hubert Miś
 *
 * SPDX-License-Identifier: Apache-2.0
 */

void switch_init(void);
```
